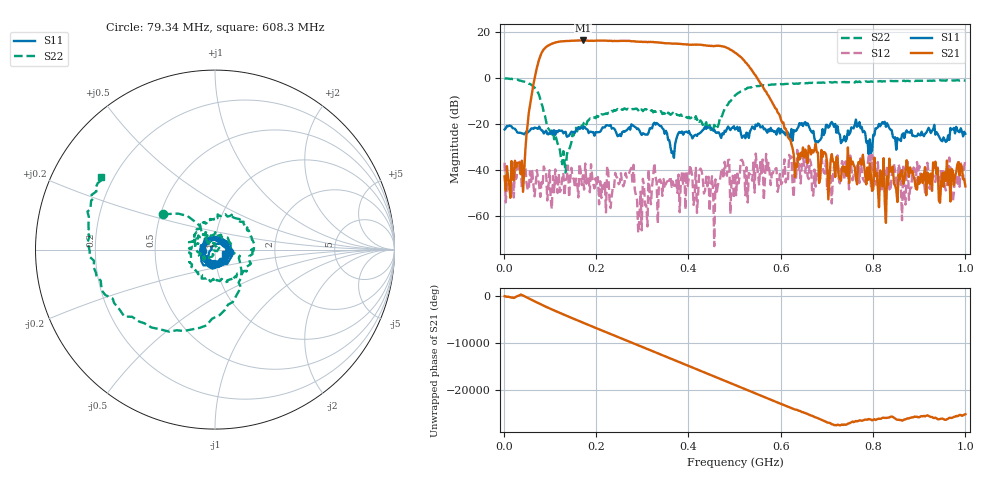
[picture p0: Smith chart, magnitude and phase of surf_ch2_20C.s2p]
!Keysight Technologies N9923A: A.12.45
!Date: Friday, 31 October 2025 01:26:10
!Timezone: (UTC+08:00) Kuala Lumpur, Singapore
!Model: N9923A
!Serial: MY61181427
!GPS Latitude:
!GPS Longitude:
!GPS TimeStamp: 0001-01-01 00:00:00Z
!GPS Seconds Since Last Read: 0
!CHECKSUM:0370662810
!Correction: S11(ON U?)S21(ON U?)S12(ON U?)S22(ON U?)
!S2P File: Measurements:S11,S21,S12,S22:
# Hz S DB R 50
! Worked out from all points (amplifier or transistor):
!   401 points, 2 MHz to 1 GHz, reference 50 ohm
!   highest |S21| = 16.5 dB at 171.7 MHz (marker M1)
!   |S21| within 3 dB of that: 91.09 MHz to 481.3 MHz (390.2 MHz wide, 136 % of centre)
!   unconditionally stable (mu >= 1): 2.887 MHz to 6.919 MHz; 7.047 MHz to end of sweep
!   at 166.7 MHz: K = 7.59, MAG = 16.5 dB, |S12| = -40.2 dB
!   at 501 MHz: K = 12.90, MAG = 12.1 dB, |S12| = -41.2 dB
!   at 1 GHz: K = 1254.49, MAG = -39.6 dB, |S12| = -35.8 dB
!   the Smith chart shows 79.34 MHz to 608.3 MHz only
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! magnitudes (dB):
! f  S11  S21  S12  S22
! 2 MHz  -22.2  -42.7  -36.7  0.1
! 41.92 MHz  -24.0  -49.4  -40.4  -1.3
! 59.38 MHz  -21.9  -8.5  -45.1  -2.8
! 84.33 MHz  -22.8  11.9  -46.9  -12.4
! 129.2 MHz  -23.9  16.2  -41.2  -31.7
! 169.2 MHz  -21.4  16.5  -46.4  -20.7
! 171.7 MHz  -22.0  16.5  -42.2  -20.2
! 234 MHz  -21.9  16.3  -51.2  -14.1
! 276.4 MHz  -20.0  16.2  -38.9  -13.5
! 293.9 MHz  -22.6  15.9  -60.7  -12.9
! 336.3 MHz  -20.3  15.6  -44.3  -14.7
! 366.3 MHz  -31.9  15.1  -44.9  -15.0
! 453.6 MHz  -22.8  14.0  -48.6  -22.3
! 483.5 MHz  -22.0  13.4  -42.4  -11.8
! 501 MHz  -22.3  11.2  -41.2  -7.4
! 630.7 MHz  -23.0  -43.0  -37.1  -2.4
! 668.2 MHz  -23.6  -31.3  -50.6  -1.9
! 765.5 MHz  -21.1  -46.1  -37.7  -1.6
! 792.9 MHz  -26.5  -36.9  -32.1  -1.5
! 835.3 MHz  -21.7  -34.9  -48.2  -1.1
! 975 MHz  -21.6  -46.5  -50.0  -0.9
! 1 GHz  -24.1  -47.0  -35.8  -0.9
